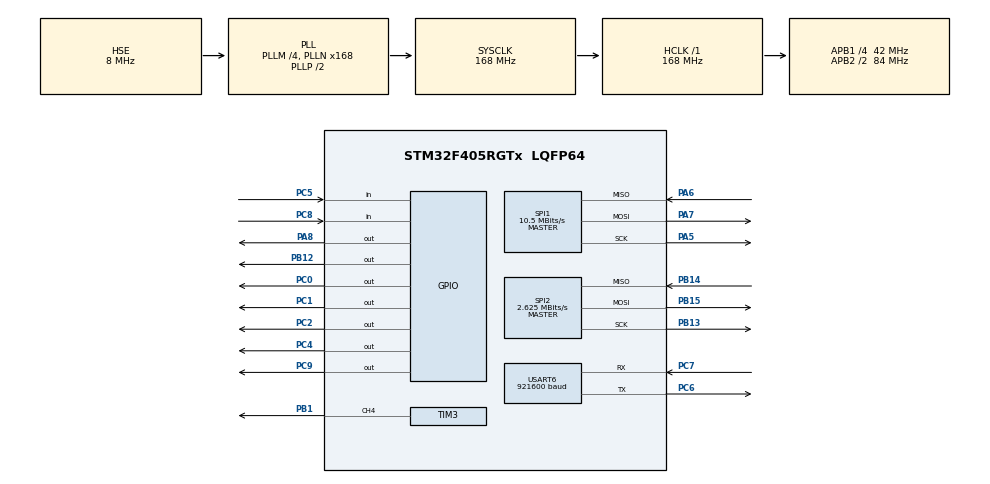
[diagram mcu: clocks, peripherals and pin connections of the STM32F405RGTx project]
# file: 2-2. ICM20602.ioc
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Mcu.Family=STM32F4
Mcu.Name=STM32F405RGTx
Mcu.Package=LQFP64
NVIC.PriorityGroup=NVIC_PRIORITYGROUP_4
NVIC.USART6_IRQn=true\:0\:0\:false\:false\:true\:true\:true\:true
PA5.Mode=Full_Duplex_Master
PA5.Signal=SPI1_SCK
PA6.Mode=Full_Duplex_Master
PA6.Signal=SPI1_MISO
PA7.Mode=Full_Duplex_Master
PA7.Signal=SPI1_MOSI
PA8.Signal=GPIO_Output
PB1.Signal=S_TIM3_CH4
PB12.Signal=GPIO_Output
PB13.Mode=Full_Duplex_Master
PB13.Signal=SPI2_SCK
PB14.Mode=Full_Duplex_Master
PB14.Signal=SPI2_MISO
PB15.Mode=Full_Duplex_Master
PB15.Signal=SPI2_MOSI
PC0.Signal=GPIO_Output
PC1.Signal=GPIO_Output
PC2.Signal=GPIO_Output
PC4.Signal=GPIO_Output
PC5.Signal=GPIO_Input
PC6.Mode=Asynchronous
PC6.Signal=USART6_TX
PC7.Mode=Asynchronous
PC7.Signal=USART6_RX
PC8.Signal=GPIO_Input
PC9.Signal=GPIO_Output
PH0-OSC_IN.Mode=HSE-External-Oscillator
PH0-OSC_IN.Signal=RCC_OSC_IN
PH1-OSC_OUT.Mode=HSE-External-Oscillator
PH1-OSC_OUT.Signal=RCC_OSC_OUT
ProjectManager.HeapSize=0x200
ProjectManager.StackSize=0x400
ProjectManager.TargetToolchain=STM32CubeIDE
RCC.48MHZClocksFreq_Value=84000000
RCC.AHBFreq_Value=168000000
RCC.APB1CLKDivider=RCC_HCLK_DIV4
RCC.APB1Freq_Value=42000000
RCC.APB1TimFreq_Value=84000000
RCC.APB2CLKDivider=RCC_HCLK_DIV2
RCC.APB2Freq_Value=84000000
RCC.APB2TimFreq_Value=168000000
RCC.CortexFreq_Value=168000000
RCC.HCLKFreq_Value=168000000
RCC.HSE_VALUE=8000000
RCC.HSI_VALUE=16000000
RCC.LSE_VALUE=32768
RCC.PLLM=4
RCC.PLLN=168
RCC.PLLSourceVirtual=RCC_PLLSOURCE_HSE
RCC.SYSCLKFreq_VALUE=168000000
RCC.SYSCLKSource=RCC_SYSCLKSOURCE_PLLCLK
RCC.VCOOutputFreq_Value=336000000
SH.S_TIM3_CH4.0=TIM3_CH4,PWM Generation4 CH4
SPI1.BaudRatePrescaler=SPI_BAUDRATEPRESCALER_8
SPI1.CLKPhase=SPI_PHASE_2EDGE
SPI1.CLKPolarity=SPI_POLARITY_HIGH
SPI1.CalculateBaudRate=10.5 MBits/s
SPI1.Direction=SPI_DIRECTION_2LINES
SPI1.Mode=SPI_MODE_MASTER
SPI1.VirtualType=VM_MASTER
SPI2.BaudRatePrescaler=SPI_BAUDRATEPRESCALER_16
SPI2.CLKPhase=SPI_PHASE_2EDGE
SPI2.CLKPolarity=SPI_POLARITY_HIGH
SPI2.CalculateBaudRate=2.625 MBits/s
SPI2.Direction=SPI_DIRECTION_2LINES
SPI2.Mode=SPI_MODE_MASTER
SPI2.VirtualType=VM_MASTER
TIM3.AutoReloadPreload=TIM_AUTORELOAD_PRELOAD_ENABLE
TIM3.Channel-PWM\ Generation4\ CH4=TIM_CHANNEL_4
TIM3.OCFastMode_PWM-PWM\ Generation4\ CH4=TIM_OCFAST_ENABLE
TIM3.Period=20
TIM3.Prescaler=999
TIM3.Pulse-PWM\ Generation4\ CH4=10
USART6.BaudRate=921600
USART6.VirtualMode=VM_ASYNC
VP_TIM3_VS_ClockSourceINT.Mode=Internal
board=custom

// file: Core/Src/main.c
/* USER CODE BEGIN Header */
/**
  ******************************************************************************
  * @file           : main.c
  * @brief          : Main program body
  ******************************************************************************
  * @attention
  *
  * Copyright (c) 2025 STMicroelectronics.
  * All rights reserved.
  *
  * This software is licensed under terms that can be found in the LICENSE file
  * in the root directory of this software component.
  * If no LICENSE file comes with this software, it is provided AS-IS.
  *
  ******************************************************************************
  */
/* USER CODE END Header */
#include "main.h"
#include "spi.h"
#include "tim.h"
#include "usart.h"
#include "gpio.h"

/* USER CODE BEGIN Includes */
#include "BNO080.h"
#include "Quaternion.h"
#include "ICM20602.h"
/* USER CODE END Includes */

/* USER CODE BEGIN PTD */
int _write(int file, char* p, int len)
{
	for(int i=0;i<len;i++)
	{
		LL_USART_TransmitData8(USART6, *(p+i));
		HAL_Delay(1);
	}
}
/* USER CODE END PTD */

/* USER CODE BEGIN PV */
extern uint8_t uart6_rx_flag;
extern uint8_t uart6_rx_data;
/* USER CODE END PV */

void SystemClock_Config(void);

int main(void)
{

  /* USER CODE BEGIN 1 */
	float q[4];
	float quatRadianAccuracy;
  /* USER CODE END 1 */

  /* MCU Configuration--------------------------------------------------------*/

  /* Reset of all peripherals, Initializes the Flash interface and the Systick. */
  HAL_Init();

  /* Configure the system clock */
  SystemClock_Config();

  /* Initialize all configured peripherals */
  MX_GPIO_Init();
  MX_TIM3_Init();
  MX_USART6_UART_Init();
  MX_SPI2_Init();

  //SPI 초기화
  MX_SPI1_Init();
  /* USER CODE BEGIN 2 */

  // 타이머로 PWM신호 만들어서 패시브 부저 출력하기
  LL_TIM_EnableCounter(TIM3);
  LL_TIM_CC_EnableChannel(TIM3, LL_TIM_CHANNEL_CH4);

  TIM3->PSC = 2000;
  HAL_Delay(100);
  TIM3->PSC = 1500;
  HAL_Delay(100);
  TIM3->PSC = 1000;
  HAL_Delay(100);

  LL_TIM_CC_DisableChannel(TIM3, LL_TIM_CHANNEL_CH4);

  // 수신 완료 인터럽트
  LL_USART_EnableIT_RXNE(USART6);

  // SPI2 초기화, 센서 내부 초기화
  BNO080_Initialization();
  //400Hz이므로 2500마이크로초로 초기화
  BNO080_enableRotationVector(2500);

  // SPI1 초기화, 센서 내부 초기화
  ICM20602_Initialization();

  /* USER CODE END 2 */

  /* Infinite loop */
  while (1)
  {

    /* USER CODE BEGIN 3 */
	/*if(BNO080_dataAvailable() == 1)
	{
		q[0] = BNO080_getQuatI();
		q[1] = BNO080_getQuatJ();
		q[2] = BNO080_getQuatK();
		q[3] = BNO080_getQuatReal();
		quatRadianAccuracy = BNO080_getQuatRadianAccuracy();

		Quaternion_Update(&q[0]);

		printf("%d,%d,%d\n",(int)(BNO080_Roll*100), (int)(BNO080_Pitch*100), (int)(BNO080_Yaw*100));
	}*/

	if(ICM20602_DataReady() == 1)
	{
		ICM20602_Get3AxisGyroRawData(&ICM20602.gyro_x_raw);

		// degree per second, 민감도 +-2000, adc -32768 ~ 32767
		ICM20602.gyro_x = ICM20602.gyro_x_raw * 2000.f / 32768.f;
		ICM20602.gyro_y = ICM20602.gyro_y_raw * 2000.f / 32768.f;
		ICM20602.gyro_z = ICM20602.gyro_z_raw * 2000.f / 32768.f;

		printf("%d %d %d\n", (int)(ICM20602.gyro_x*100), (int)(ICM20602.gyro_y*100), (int)(ICM20602.gyro_z*100));
	}
  }
  /* USER CODE END 3 */
}

void SystemClock_Config(void)
{
  RCC_OscInitTypeDef RCC_OscInitStruct = {0};
  RCC_ClkInitTypeDef RCC_ClkInitStruct = {0};

  /** Configure the main internal regulator output voltage
  */
  __HAL_RCC_PWR_CLK_ENABLE();
  __HAL_PWR_VOLTAGESCALING_CONFIG(PWR_REGULATOR_VOLTAGE_SCALE1);

  /** Initializes the RCC Oscillators according to the specified parameters
  * in the RCC_OscInitTypeDef structure.
  */
  RCC_OscInitStruct.OscillatorType = RCC_OSCILLATORTYPE_HSE;
  RCC_OscInitStruct.HSEState = RCC_HSE_ON;
  RCC_OscInitStruct.PLL.PLLState = RCC_PLL_ON;
  RCC_OscInitStruct.PLL.PLLSource = RCC_PLLSOURCE_HSE;
  RCC_OscInitStruct.PLL.PLLM = 4;
  RCC_OscInitStruct.PLL.PLLN = 168;
  RCC_OscInitStruct.PLL.PLLP = RCC_PLLP_DIV2;
  RCC_OscInitStruct.PLL.PLLQ = 4;
  if (HAL_RCC_OscConfig(&RCC_OscInitStruct) != HAL_OK)
  {
    Error_Handler();
  }

  /** Initializes the CPU, AHB and APB buses clocks
  */
  RCC_ClkInitStruct.ClockType = RCC_CLOCKTYPE_HCLK|RCC_CLOCKTYPE_SYSCLK
                              |RCC_CLOCKTYPE_PCLK1|RCC_CLOCKTYPE_PCLK2;
  RCC_ClkInitStruct.SYSCLKSource = RCC_SYSCLKSOURCE_PLLCLK;
  RCC_ClkInitStruct.AHBCLKDivider = RCC_SYSCLK_DIV1;
  RCC_ClkInitStruct.APB1CLKDivider = RCC_HCLK_DIV4;
  RCC_ClkInitStruct.APB2CLKDivider = RCC_HCLK_DIV2;

  if (HAL_RCC_ClockConfig(&RCC_ClkInitStruct, FLASH_LATENCY_5) != HAL_OK)
  {
    Error_Handler();
  }
}

void Error_Handler(void)
{
  __disable_irq();
  while (1)
  {
  }
}
